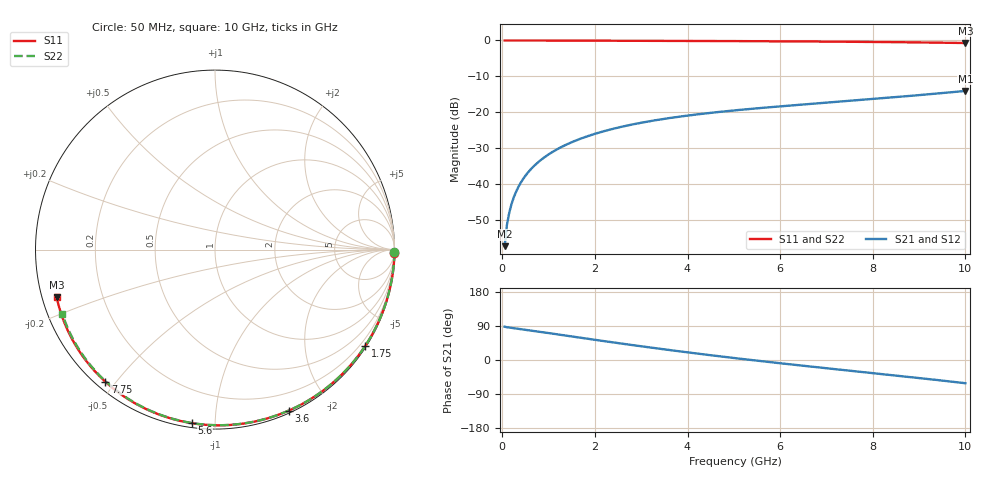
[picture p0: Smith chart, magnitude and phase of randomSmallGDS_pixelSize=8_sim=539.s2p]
! freq	dB(S11)	phase(S11)	dB(S12)	phase(S12)
!  dB(S21)	phase(S21)	dB(S22)	phase(S22)
!S-par simulation data
#  GHz  S  DB  R 50
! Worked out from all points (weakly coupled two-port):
!   200 points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, 50 MHz to 10 GHz, reference 50 ohm
!   highest |S21| = -14.03 dB at 10 GHz (marker M1); lowest = -57.2 dB at 50 MHz (marker M2)
!   lowest |S11| = -0.7 dB at 10 GHz (marker M3), VSWR 24.41, Z = 2.09 - j7.36 ohm
!   |S11| at or under -10 dB: nowhere
!   |S22| runs from -0.7 to 0.0 dB; largest |S21 - S12| = 0
!   S11 on the Smith chart (normalised r, x): 50 MHz: open; 1.75 GHz: 0.04, -3.40; 3.6 GHz: 0.02, -1.56; 5.6 GHz: 0.02, -0.87; 7.75 GHz: 0.03, -0.47; 10 GHz: 0.04, -0.15
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0.05  -0.00 -1.0  -57.18 87.8  -57.18 87.8  -0.00 -0.9
0.1  -0.00 -1.9  -51.30 86.5  -51.30 86.5  -0.00 -1.8
0.15  -0.00 -2.9  -47.88 85.6  -47.88 85.6  -0.00 -2.8
0.2  -0.00 -3.8  -45.44 84.9  -45.44 84.9  -0.00 -3.7
0.25  -0.00 -4.8  -43.54 84.1  -43.54 84.1  -0.00 -4.6
0.35  -0.01 -6.7  -40.66 82.6  -40.66 82.6  -0.01 -6.4
0.5  -0.01 -9.5  -37.59 80.0  -37.59 80.0  -0.01 -9.2
0.7  -0.02 -13.3  -34.71 76.5  -34.71 76.5  -0.02 -12.8
1  -0.03 -18.9  -31.67 71.1  -31.67 71.1  -0.02 -18.2
1.35  -0.04 -25.4  -29.15 64.8  -29.15 64.8  -0.04 -24.5
1.75  -0.05 -32.8  -27.02 57.6  -27.02 57.6  -0.05 -31.6
2.6  -0.08 -48.1  -23.93 42.9  -23.93 42.9  -0.08 -46.3
3.4  -0.11 -62.0  -21.98 29.6  -21.98 29.6  -0.10 -59.8
3.6  -0.12 -65.4  -21.59 26.4  -21.59 26.4  -0.11 -63.1
4.3  -0.15 -77.0  -20.41 15.6  -20.41 15.6  -0.14 -74.3
5.05  -0.18 -89.1  -19.39 4.6  -19.39 4.6  -0.18 -86.0
5.6  -0.21 -97.6  -18.75 -3.1  -18.75 -3.1  -0.21 -94.3
6.7  -0.29 -114.3  -17.60 -17.8  -17.60 -17.8  -0.28 -110.3
7.75  -0.39 -129.7  -16.53 -31.3  -16.53 -31.3  -0.38 -125.2
8.35  -0.45 -138.5  -15.91 -39.0  -15.91 -39.0  -0.44 -133.7
9.2  -0.57 -151.1  -14.97 -50.2  -14.97 -50.2  -0.56 -145.6
10  -0.71 -163.2  -14.03 -61.3  -14.03 -61.3  -0.70 -157.1
